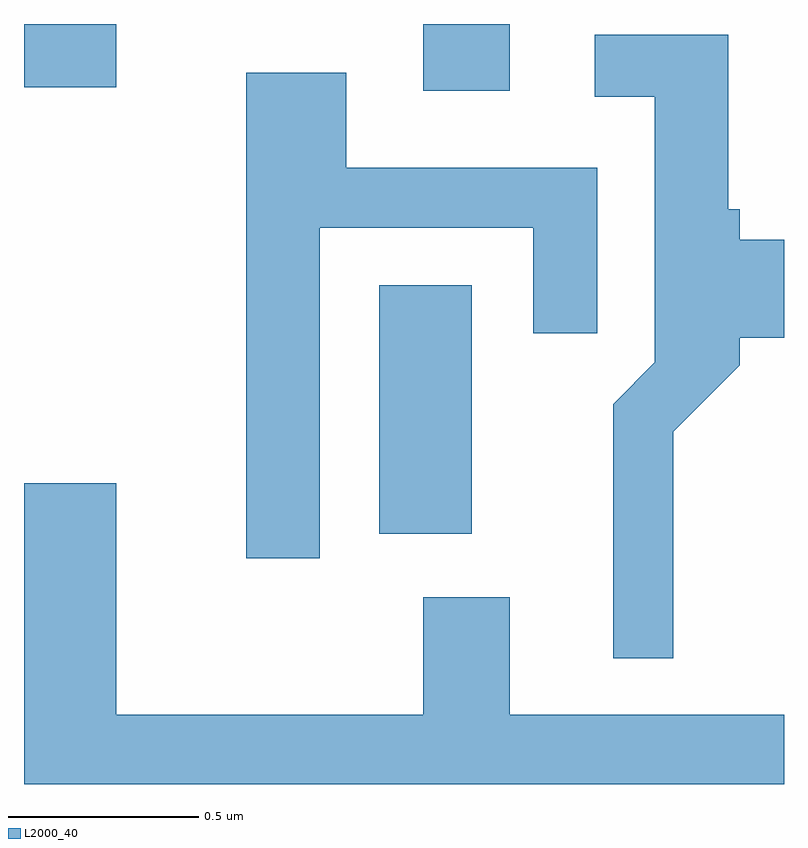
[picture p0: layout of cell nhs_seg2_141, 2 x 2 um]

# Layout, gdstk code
import gdstk
lib = gdstk.Library(unit=1e-6, precision=1e-09)
def R(c, l, rs):  # rectangles x0, y0, x1, y1
    for r in rs: c.add(gdstk.rectangle(r[:2], r[2:], *l))
def P(c, l, *ps):  # polygons
    for p in ps: c.add(gdstk.Polygon(p, *l))
L2000_40 = (2000, 40)

nhs_seg2_141 = lib.new_cell('nhs_seg2_141')
R(nhs_seg2_141, L2000_40, [(187.546,982.461,187.789,983.114), (187.661,983.626,187.889,983.802), (186.611,983.636,186.854,983.802)])
P(nhs_seg2_141, L2000_40, [(188.319,982.729),(188.494,982.904),(188.494,982.976),(188.611,982.976),(188.611,983.234),(188.494,983.234),(188.494,983.314),(188.464,983.314),(188.464,983.774),(188.113,983.774),(188.113,983.611),(188.271,983.611),(188.271,982.912),(188.161,982.802),(188.161,982.133),(188.319,982.133)],
  [(187.389,983.266),(187.951,983.266),(187.951,982.988),(188.119,982.988),(188.119,983.424),(187.459,983.424),(187.459,983.674),(187.196,983.674),(187.196,982.396),(187.389,982.396)],
  [(188.611,981.984),(187.889,981.984),(187.889,982.294),(187.661,982.294),(187.661,981.984),(186.854,981.984),(186.854,982.594),(186.611,982.594),(186.611,981.802),(188.611,981.802)])

lib.write_gds('nhs_seg2_141.gds')
